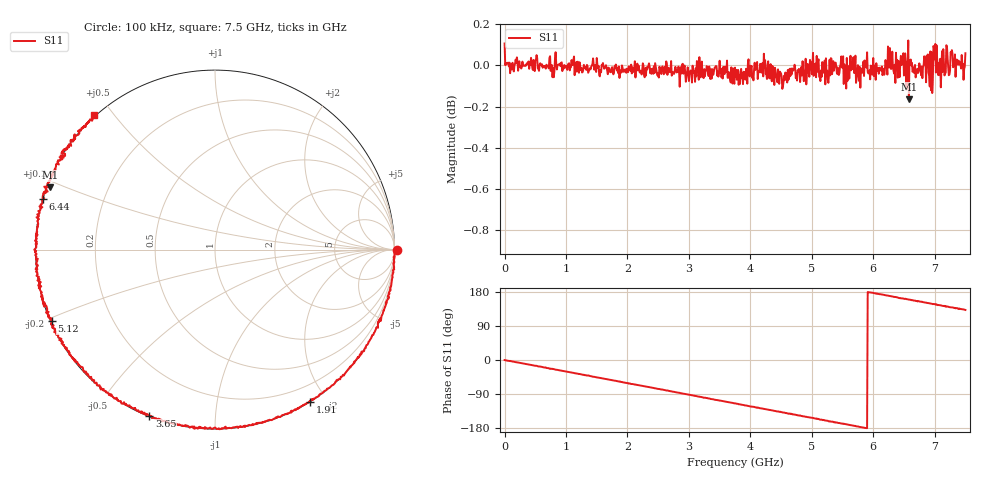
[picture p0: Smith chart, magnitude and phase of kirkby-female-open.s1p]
# Hz S RI R 50.000000
! FREQ  re:S1  1  im:S1  1
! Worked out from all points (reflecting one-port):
!   751 points, 100 kHz to 7.5 GHz, reference 50 ohm
!   lowest |S11| = -0.2 dB at 6.58 GHz (marker M1), VSWR 105.89, Z = 0.488 + j9.12 ohm
!   phase of S11 starts at -0 deg and turns -228 deg over the sweep
!   S11 on the Smith chart (normalised r, x): 100 kHz: open; 1.91 GHz: -0.00, -1.81; 3.65 GHz: 0.00, -0.68; 5.12 GHz: 0.00, -0.21; 6.44 GHz: -0.00, +0.14; 7.5 GHz: -0.00, +0.44
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100000  1.012 -0.0024
5.000933e8  0.9682 -0.2612
9.400875e8  0.8753 -0.477
1.380082e9  0.7436 -0.6649
1.47008e9  0.71 -0.704
1.880075e9  0.5462 -0.8344
1.910075e9  0.5307 -0.8476
2.340069e9  0.3203 -0.9471
2.610065e9  0.1765 -0.9836
2.820062e9  0.071 -0.9938
3.180058e9  -0.1264 -0.9889
3.650051e9  -0.3653 -0.9269
3.75005e9  -0.4097 -0.9109
4.210044e9  -0.62 -0.7768
4.690037e9  -0.8051 -0.588
5.120032e9  -0.9105 -0.3981
5.370028e9  -0.9605 -0.2796
5.630025e9  -0.9948 -0.1458
6.03002e9  -0.9966 0.0687
6.270016e9  -0.9907 0.1957
6.440014e9  -0.9604 0.2822
6.570012e9  -0.9515 0.3507
6.580012e9  -0.9181 0.3464
6.860009e9  -0.8699 0.474
6.940007e9  -0.8427 0.5124
7.010007e9  -0.8513 0.5473
7.220004e9  -0.7709 0.6364
7.5e9  -0.6747 0.7474
